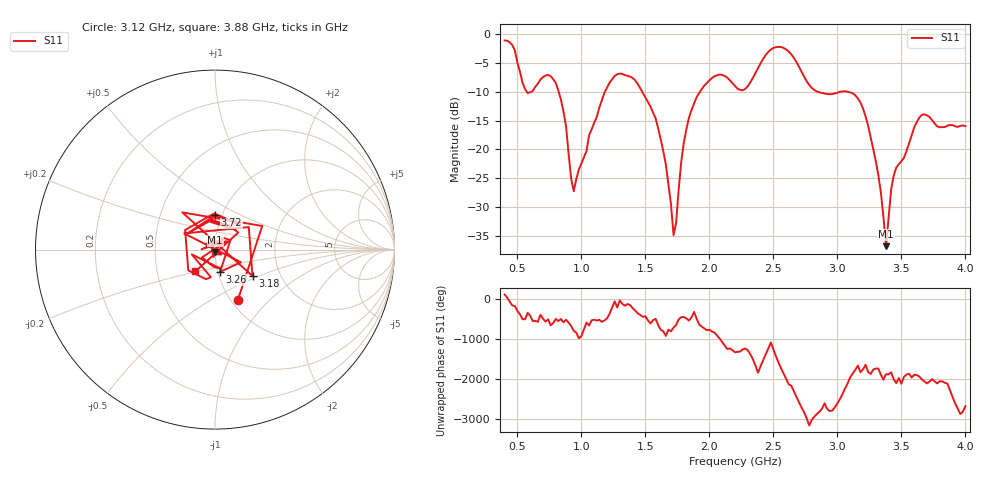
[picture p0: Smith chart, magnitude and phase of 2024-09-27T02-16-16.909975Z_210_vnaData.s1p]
!Created with skrf (http://scikit-rf.org).
# Hz S RI R 50.0
!freq ReS11 ImS11
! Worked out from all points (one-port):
!   181 points, 400 MHz to 4 GHz, reference 50 ohm
!   lowest |S11| = -36.7 dB at 3.38 GHz (marker M1), VSWR 1.03, Z = 50.1 - j1.45 ohm
!   |S11| at or under -10 dB: 822.1 MHz to 1.184 GHz (362 MHz wide, 36.1 % of centre); 1.475 GHz to 1.927 GHz (452.1 MHz wide, 26.6 % of centre); 3.077 GHz to end of sweep (the widest 3 of 5)
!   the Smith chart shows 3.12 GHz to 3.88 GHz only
!   S11 on the Smith chart (normalised r, x): 3.12 GHz: 1.08, -0.66; 3.18 GHz: 1.44, -0.46; 3.26 GHz: 1.03, -0.26; 3.72 GHz: 0.93, +0.37; 3.88 GHz: 0.78, -0.19
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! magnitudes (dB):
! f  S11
! 400 MHz  -1.1
! 580 MHz  -10.2
! 760 MHz  -7.3
! 860 MHz  -13.4
! 940 MHz  -27.2
! 1.18 GHz  -10.2
! 1.3 GHz  -6.9
! 1.58 GHz  -14.6
! 1.66 GHz  -22.6
! 1.72 GHz  -34.8
! 1.76 GHz  -26.9
! 1.82 GHz  -16.5
! 1.9 GHz  -11.0
! 2.2 GHz  -9.0
! 2.5 GHz  -2.4
! 2.66 GHz  -4.2
! 2.82 GHz  -9.7
! 3.1 GHz  -10.1
! 3.12 GHz  -10.3
! 3.18 GHz  -11.8
! 3.26 GHz  -17.9
! 3.34 GHz  -27.5
! 3.38 GHz  -36.7
! 3.44 GHz  -24.5
! 3.56 GHz  -19.0
! 3.72 GHz  -14.4
! 3.88 GHz  -15.8
! 4 GHz  -16.0
